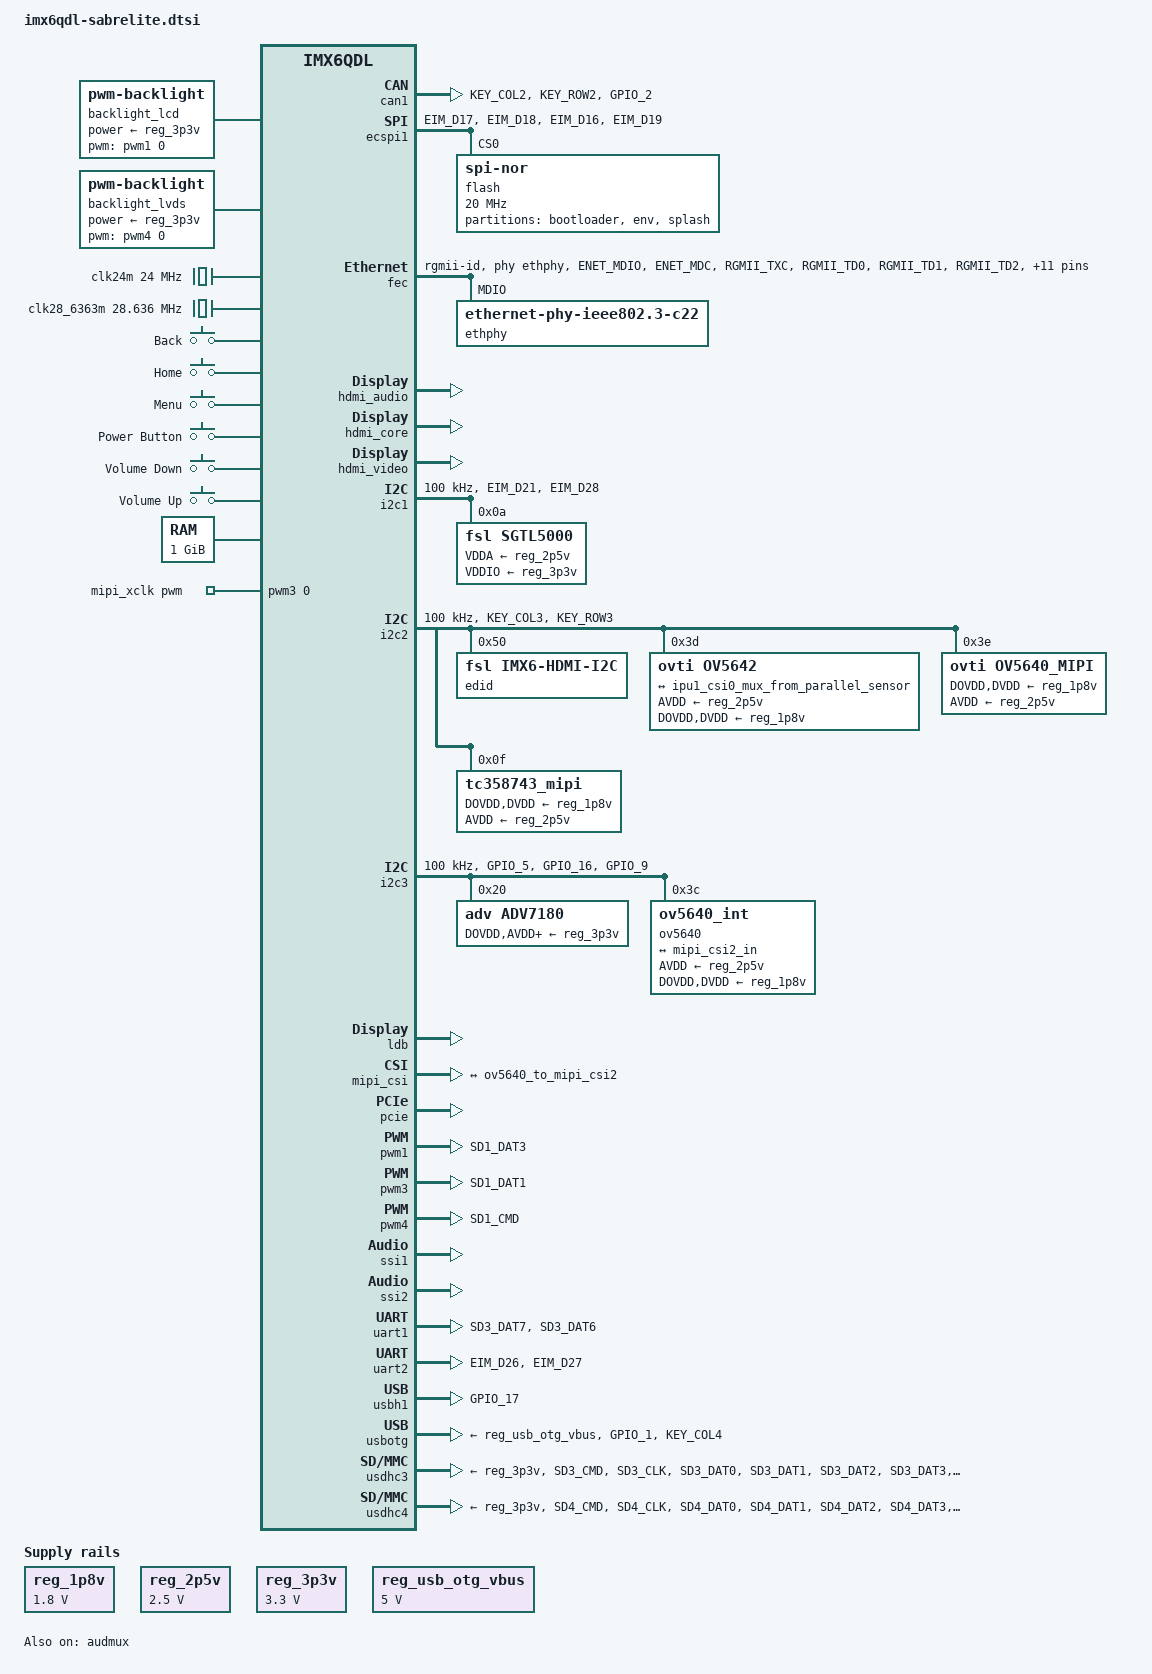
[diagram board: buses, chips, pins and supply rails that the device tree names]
// SPDX-License-Identifier: GPL-2.0 OR X11
/*
 * Copyright 2013-2016 Boundary Devices, Inc.
 * Copyright 2011-2015 Freescale Semiconductor, Inc.
 * Copyright 2011 Linaro Ltd.
 *
 */
#include <dt-bindings/gpio/gpio.h>
#include <dt-bindings/input/input.h>

&iomuxc {
	pinctrl-names = "default";
	pinctrl-0 = <&pinctrl_hog>;

	pinctrl_audmux: audmuxgrp {
		fsl,pins = <
			MX6QDL_PAD_SD2_DAT0__AUD4_RXD		0x130b0
			MX6QDL_PAD_SD2_DAT3__AUD4_TXC		0x130b0
			MX6QDL_PAD_SD2_DAT2__AUD4_TXD		0x110b0
			MX6QDL_PAD_SD2_DAT1__AUD4_TXFS		0x130b0
		>;
	};

	pinctrl_audmux_tc358743: audmux-tc358743grp {
		fsl,pins = <
			MX6QDL_PAD_DISP0_DAT13__AUD5_RXFS	0x130b0
			MX6QDL_PAD_DISP0_DAT14__AUD5_RXC	0x130b0
			MX6QDL_PAD_DISP0_DAT19__AUD5_RXD	0x130b0
		>;
	};

	pinctrl_can1: can1grp {
		fsl,pins = <
			MX6QDL_PAD_KEY_COL2__FLEXCAN1_TX	0x1b0b0
			MX6QDL_PAD_KEY_ROW2__FLEXCAN1_RX	0x1b0b0
#define GP_CAN1_STANDBY		<&gpio1 2 GPIO_ACTIVE_HIGH>
			/* Flexcan XCVR enable */
			MX6QDL_PAD_GPIO_2__GPIO1_IO02		0x0b0b0
		>;
	};

	pinctrl_ecspi1: ecspi1grp {
		fsl,pins = <
			MX6QDL_PAD_EIM_D17__ECSPI1_MISO		0x100b1
			MX6QDL_PAD_EIM_D18__ECSPI1_MOSI		0x100b1
			MX6QDL_PAD_EIM_D16__ECSPI1_SCLK		0x000b1
#define GP_ECSPI1_NOR_CS	<&gpio3 19 GPIO_ACTIVE_LOW>
			MX6QDL_PAD_EIM_D19__GPIO3_IO19		0x0b0b1
		>;
	};

	pinctrl_enet: enetgrp {
		fsl,pins = <
			MX6QDL_PAD_ENET_MDIO__ENET_MDIO		0x1b0b0
			MX6QDL_PAD_ENET_MDC__ENET_MDC		0x1b0b0
			MX6QDL_PAD_RGMII_TXC__RGMII_TXC		0x100b0
			MX6QDL_PAD_RGMII_TD0__RGMII_TD0		0x100b0
			MX6QDL_PAD_RGMII_TD1__RGMII_TD1		0x100b0
			MX6QDL_PAD_RGMII_TD2__RGMII_TD2		0x100b0
			MX6QDL_PAD_RGMII_TD3__RGMII_TD3		0x100b0
			MX6QDL_PAD_RGMII_TX_CTL__RGMII_TX_CTL	0x100b0
			MX6QDL_PAD_ENET_REF_CLK__ENET_TX_CLK	0x100b0
			MX6QDL_PAD_RGMII_RXC__RGMII_RXC		0x1b0b0
			MX6QDL_PAD_RGMII_RD0__RGMII_RD0		0x1b0b0
			MX6QDL_PAD_RGMII_RD1__RGMII_RD1		0x1b0b0
			MX6QDL_PAD_RGMII_RD2__RGMII_RD2		0x1b0b0
			MX6QDL_PAD_RGMII_RD3__RGMII_RD3		0x1b0b0
			MX6QDL_PAD_RGMII_RX_CTL__RGMII_RX_CTL	0x1b0b0
#define GPIRQ_ENET_PHY		<&gpio1 28 IRQ_TYPE_LEVEL_LOW>
			MX6QDL_PAD_ENET_TX_EN__GPIO1_IO28	0x1b0b0
		>;
	};

	pinctrl_enet_reset: enet-resetgrp {
		fsl,pins = <
#define GP_ENET_PHY_RESET	<&gpio3 23 GPIO_ACTIVE_LOW>
			MX6QDL_PAD_EIM_D23__GPIO3_IO23		0x030b0
		>;
	};

	pinctrl_gpio_keys: gpio-keysgrp {
		fsl,pins = <
#define GP_GPIOKEY_POWER	<&gpio2 3 GPIO_ACTIVE_LOW>
			MX6QDL_PAD_NANDF_D3__GPIO2_IO03		0x1b0b0
#define GP_GPIOKEY_MENU		<&gpio2 1 GPIO_ACTIVE_LOW>
			MX6QDL_PAD_NANDF_D1__GPIO2_IO01		0x1b0b0
#define GP_GPIOKEY_HOME		<&gpio2 4 GPIO_ACTIVE_LOW>
			MX6QDL_PAD_NANDF_D4__GPIO2_IO04		0x1b0b0
#define GP_GPIOKEY_BACK		<&gpio2 2 GPIO_ACTIVE_LOW>
			MX6QDL_PAD_NANDF_D2__GPIO2_IO02		0x1b0b0
#define GP_GPIOKEY_VOL_UP	<&gpio7 13 GPIO_ACTIVE_LOW>
			MX6QDL_PAD_GPIO_18__GPIO7_IO13		0x1b0b0
#define GP_GPIOKEY_VOL_DN	<&gpio4 5 GPIO_ACTIVE_LOW>
			MX6QDL_PAD_GPIO_19__GPIO4_IO05		0x1b0b0
		>;
	};

	pinctrl_hog: hoggrp {
		fsl,pins = <
			MX6QDL_PAD_NANDF_D7__GPIO2_IO07		0x1b0b0		/* Spare */
			MX6QDL_PAD_GPIO_4__GPIO1_IO04		0x1b0b0		/* Spare */
		>;
	};

	pinctrl_i2c1: i2c1grp {
		fsl,pins = <
			MX6QDL_PAD_EIM_D21__I2C1_SCL		0x4001b8b1
			MX6QDL_PAD_EIM_D28__I2C1_SDA		0x4001b8b1
		>;
	};

	pinctrl_i2c1_1: i2c1-1grp {
		fsl,pins = <
#define GP_I2C1_SCL	<&gpio3 21 GPIO_ACTIVE_HIGH>
			MX6QDL_PAD_EIM_D21__GPIO3_IO21		0x4001b8b1
#define GP_I2C1_SDA	<&gpio3 28 GPIO_ACTIVE_HIGH>
			MX6QDL_PAD_EIM_D28__GPIO3_IO28		0x4001b8b1
		>;
	};

	pinctrl_i2c1_sgtl5000: i2c1-sgtl5000grp {
		fsl,pins = <
			MX6QDL_PAD_GPIO_0__CCM_CLKO1		0x000b0		/* sys_mclk */
		>;
	};

	pinctrl_i2c2: i2c2grp {
		fsl,pins = <
			MX6QDL_PAD_KEY_COL3__I2C2_SCL		0x4001b8b1
			MX6QDL_PAD_KEY_ROW3__I2C2_SDA		0x4001b8b1
		>;
	};

	pinctrl_i2c2_1: i2c2-1grp {
		fsl,pins = <
#define GP_I2C2_SCL	<&gpio4 12 GPIO_ACTIVE_HIGH>
			MX6QDL_PAD_KEY_COL3__GPIO4_IO12		0x4001b8b1
#define GP_I2C2_SDA	<&gpio4 13 GPIO_ACTIVE_HIGH>
			MX6QDL_PAD_KEY_ROW3__GPIO4_IO13		0x4001b8b1
		>;
	};

	pinctrl_i2c2_ov5640_mipi: i2c2-ov5640-mipigrp {
		fsl,pins = <
#define GP_OV5640_MIPI_POWER_DOWN	<&gpio6 9 GPIO_ACTIVE_HIGH>
			MX6QDL_PAD_NANDF_WP_B__GPIO6_IO09	0x0b0b0
#define GP_OV5640_MIPI_RESET		<&gpio2 5 GPIO_ACTIVE_LOW>
			MX6QDL_PAD_NANDF_D5__GPIO2_IO05		0x000b0
		>;
	};

	pinctrl_i2c2_ov5642: i2c2-ov5642grp { /* parallel camera */
		fsl,pins = <
			MX6QDL_PAD_CSI0_DAT12__IPU1_CSI0_DATA12		0x1b0b0
			MX6QDL_PAD_CSI0_DAT13__IPU1_CSI0_DATA13		0x1b0b0
			MX6QDL_PAD_CSI0_DAT14__IPU1_CSI0_DATA14		0x1b0b0
			MX6QDL_PAD_CSI0_DAT15__IPU1_CSI0_DATA15		0x1b0b0
			MX6QDL_PAD_CSI0_DAT16__IPU1_CSI0_DATA16		0x1b0b0
			MX6QDL_PAD_CSI0_DAT17__IPU1_CSI0_DATA17		0x1b0b0
			MX6QDL_PAD_CSI0_DAT18__IPU1_CSI0_DATA18		0x1b0b0
			MX6QDL_PAD_CSI0_DAT19__IPU1_CSI0_DATA19		0x1b0b0
			MX6QDL_PAD_CSI0_DATA_EN__IPU1_CSI0_DATA_EN	0x1b0b0
			MX6QDL_PAD_CSI0_PIXCLK__IPU1_CSI0_PIXCLK	0x1b0b0
			MX6QDL_PAD_CSI0_MCLK__IPU1_CSI0_HSYNC		0x1b0b0
			MX6QDL_PAD_CSI0_VSYNC__IPU1_CSI0_VSYNC		0x1b0b0
			MX6QDL_PAD_GPIO_3__CCM_CLKO2			0x000b0		/* mclk */
#define GP_OV5642_POWER_DOWN	<&gpio1 6 GPIO_ACTIVE_HIGH>
			MX6QDL_PAD_GPIO_6__GPIO1_IO06			0x000b0
#define GP_OV5642_RESET		<&gpio1 8 GPIO_ACTIVE_LOW>
			MX6QDL_PAD_GPIO_8__GPIO1_IO08			0x030b0
		>;
	};

	pinctrl_i2c2_tc358743_mipi: i2c2-tc358743_mipigrp {
		fsl,pins = <
#define GP_TC3587_RESET	<&gpio6 9 GPIO_ACTIVE_LOW>
			MX6QDL_PAD_NANDF_WP_B__GPIO6_IO09	0x030b0
#define GP_TC3587_IRQ	<&gpio2 5 GPIO_ACTIVE_HIGH>
#define GPIRQ_TC3587	<&gpio2 5 IRQ_TYPE_LEVEL_HIGH>
			MX6QDL_PAD_NANDF_D5__GPIO2_IO05		0x130b0
		>;
	};

	pinctrl_i2c3: i2c3grp {
		fsl,pins = <
			MX6QDL_PAD_GPIO_5__I2C3_SCL		0x4001b8b1
			MX6QDL_PAD_GPIO_16__I2C3_SDA		0x4001b8b1
#define GPIRQ_I2C3_J7	<&gpio1 9 IRQ_TYPE_EDGE_FALLING>
#define GP_I2C3_J7	<&gpio1 9 GPIO_ACTIVE_LOW>
			MX6QDL_PAD_GPIO_9__GPIO1_IO09		0x1b0b0		/* I2C3 J7 interrupt */
		>;
	};

	pinctrl_i2c3_1: i2c3-1grp {
		fsl,pins = <
#define GP_I2C3_SCL	<&gpio1 5 GPIO_ACTIVE_HIGH>
			MX6QDL_PAD_GPIO_5__GPIO1_IO05		0x4001b8b1
#define GP_I2C3_SDA	<&gpio7 11 GPIO_ACTIVE_HIGH>
			MX6QDL_PAD_GPIO_16__GPIO7_IO11		0x4001b8b1
		>;
	};

	pinctrl_i2c3_adv7180_gpios: i2c3-adv7180-gpiosgrp {
		fsl,pins = <
			/* No data enable pin, make sure it is not selected */
			MX6QDL_PAD_EIM_DA10__GPIO3_IO10		0x0b0b1
#define GP_ADV7180_PWN		<&gpio3 13 GPIO_ACTIVE_LOW>
			MX6QDL_PAD_EIM_DA13__GPIO3_IO13		0x0b0b0
#define GP_ADV7180_RESET	<&gpio3 14 GPIO_ACTIVE_LOW>
			MX6QDL_PAD_EIM_DA14__GPIO3_IO14		0x030b0
#define GPIRQ_ADV7180		<&gpio5 0 IRQ_TYPE_LEVEL_LOW>
			MX6QDL_PAD_EIM_WAIT__GPIO5_IO00		0x1b0b0
		>;
	};

	pinctrl_i2c3_adv7180: i2c3-adv7180grp {
		/* parallel camera on CSI1, pins differ for iMX6Q/iMX6DL */
	};

	pinctrl_i2c3_adv7180_cea861: i2c3-adv7180-cea861grp {
		/* parallel camera on CSI1, pins differ for iMX6Q/iMX6DL */
	};

	pinctrl_i2c3_adv7180_no_cea861: i2c3-adv7180-no-cea861grp {
		fsl,pins = <
			MX6QDL_PAD_EIM_DA11__GPIO3_IO11		0xb0b1  /* Hsync */
			MX6QDL_PAD_EIM_DA12__GPIO3_IO12		0xb0b1  /* Vsync */
		>;
	};

	pinctrl_i2c3_gt911: i2c3-gt911grp {
		fsl,pins = <
#define GPIRQ_GT911			<&gpio1 9 IRQ_TYPE_LEVEL_HIGH>
#define GP_GT911_IRQ			<&gpio1 9 GPIO_ACTIVE_HIGH>
/*			MX6QDL_PAD_GPIO_9__GPIO1_IO09		0x1b0b0		*/
#define GP_GT911_RESET		<&gpio2 0 GPIO_ACTIVE_HIGH>
			MX6QDL_PAD_NANDF_D0__GPIO2_IO00		0x030b0
		>;
	};

	pinctrl_i2c3_ov5640: i2c3-ov5640grp {
		/* parallel camera on CSI1, pins differ for iMX6Q/iMX6DL */
	};

	pinctrl_i2c3_ov5640_gpios: i2c3-ov5640-gpiosgrp {
		fsl,pins = <
#define GP_OV5640_POWER_DOWN	<&gpio3 13 GPIO_ACTIVE_HIGH>
			MX6QDL_PAD_EIM_DA13__GPIO3_IO13		0x0b0b0
#define GP_OV5640_RESET		<&gpio3 14 GPIO_ACTIVE_LOW>
			MX6QDL_PAD_EIM_DA14__GPIO3_IO14		0x030b0
		>;
	};

	pinctrl_i2c3_tsc2004: i2c3-tsc2004grp {
		fsl,pins = <
#define GPIRQ_TSC2004		<&gpio4 20 IRQ_TYPE_EDGE_FALLING>
#define GP_TSC2004		<&gpio4 20 GPIO_ACTIVE_LOW>
			MX6QDL_PAD_DI0_PIN4__GPIO4_IO20		0x1b0b0		/* tsc2004 interrupt */
		>;
	};

	pinctrl_lcd0_rgb: lcd0-rgbgrp {
		fsl,pins = <
			MX6QDL_PAD_DI0_DISP_CLK__IPU1_DI0_DISP_CLK	0x10
			MX6QDL_PAD_DI0_PIN15__IPU1_DI0_PIN15		0x10	/* DRDY */
			MX6QDL_PAD_DI0_PIN2__IPU1_DI0_PIN02		0x10	/* HSYNC */
			MX6QDL_PAD_DI0_PIN3__IPU1_DI0_PIN03		0x10	/* VSYNC */
			MX6QDL_PAD_DISP0_DAT0__IPU1_DISP0_DATA00	0x10
			MX6QDL_PAD_DISP0_DAT1__IPU1_DISP0_DATA01	0x10
			MX6QDL_PAD_DISP0_DAT2__IPU1_DISP0_DATA02	0x10
			MX6QDL_PAD_DISP0_DAT3__IPU1_DISP0_DATA03	0x10
			MX6QDL_PAD_DISP0_DAT4__IPU1_DISP0_DATA04	0x10
			MX6QDL_PAD_DISP0_DAT5__IPU1_DISP0_DATA05	0x10
			MX6QDL_PAD_DISP0_DAT6__IPU1_DISP0_DATA06	0x10
			MX6QDL_PAD_DISP0_DAT7__IPU1_DISP0_DATA07	0x10
			MX6QDL_PAD_DISP0_DAT8__IPU1_DISP0_DATA08	0x10
			MX6QDL_PAD_DISP0_DAT9__IPU1_DISP0_DATA09	0x10
			MX6QDL_PAD_DISP0_DAT10__IPU1_DISP0_DATA10	0x10
			MX6QDL_PAD_DISP0_DAT11__IPU1_DISP0_DATA11	0x10
			MX6QDL_PAD_DISP0_DAT12__IPU1_DISP0_DATA12	0x10
			MX6QDL_PAD_DISP0_DAT13__IPU1_DISP0_DATA13	0x10
			MX6QDL_PAD_DISP0_DAT14__IPU1_DISP0_DATA14	0x10
			MX6QDL_PAD_DISP0_DAT15__IPU1_DISP0_DATA15	0x10
			MX6QDL_PAD_DISP0_DAT16__IPU1_DISP0_DATA16	0x10
			MX6QDL_PAD_DISP0_DAT17__IPU1_DISP0_DATA17	0x10
		>;
	};

	pinctrl_lcd0_rgb24: lcd0-rgb24grp {
		fsl,pins = <
			MX6QDL_PAD_DISP0_DAT18__IPU1_DISP0_DATA18	0x10
			MX6QDL_PAD_DISP0_DAT19__IPU1_DISP0_DATA19	0x10
			MX6QDL_PAD_DISP0_DAT20__IPU1_DISP0_DATA20	0x10
			MX6QDL_PAD_DISP0_DAT21__IPU1_DISP0_DATA21	0x10
			MX6QDL_PAD_DISP0_DAT22__IPU1_DISP0_DATA22	0x10
			MX6QDL_PAD_DISP0_DAT23__IPU1_DISP0_DATA23	0x10
		>;
	};

	pinctrl_pwm1: pwm1grp {
		fsl,pins = <
			MX6QDL_PAD_SD1_DAT3__PWM1_OUT		0x1b0b1
		>;
	};

	pinctrl_pwm3: pwm3grp {
		fsl,pins = <
			MX6QDL_PAD_SD1_DAT1__PWM3_OUT		0x1b0b1
		>;
	};

	pinctrl_pwm4: pwm4grp {
		fsl,pins = <
			MX6QDL_PAD_SD1_CMD__PWM4_OUT		0x1b0b1
		>;
	};

	pinctrl_reg_usbotg_vbus: reg-usbotg-vbusgrp {
		fsl,pins = <
#define GP_REG_USBOTG	<&gpio3 22 GPIO_ACTIVE_HIGH>
			MX6QDL_PAD_EIM_D22__GPIO3_IO22		0x030b0
		>;
	};

	pinctrl_uart1: uart1grp {
		fsl,pins = <
			MX6QDL_PAD_SD3_DAT7__UART1_TX_DATA	0x1b0b1
			MX6QDL_PAD_SD3_DAT6__UART1_RX_DATA	0x1b0b1
		>;
	};

	pinctrl_uart2: uart2grp {
		fsl,pins = <
			MX6QDL_PAD_EIM_D26__UART2_TX_DATA	0x1b0b1
			MX6QDL_PAD_EIM_D27__UART2_RX_DATA	0x1b0b1
		>;
	};

	pinctrl_usbh1: usbh1grp {
		fsl,pins = <
#define GP_USBH1_HUB_RESET	<&gpio7 12 GPIO_ACTIVE_LOW>
			MX6QDL_PAD_GPIO_17__GPIO7_IO12		0x0b0b0
		>;
	};

	pinctrl_usbotg: usbotggrp {
		fsl,pins = <
			MX6QDL_PAD_GPIO_1__USB_OTG_ID		0x17059
			MX6QDL_PAD_KEY_COL4__USB_OTG_OC		0x1b0b0
		>;
	};

	pinctrl_usdhc3: usdhc3grp {
		fsl,pins = <
			MX6QDL_PAD_SD3_CMD__SD3_CMD		0x17059
			MX6QDL_PAD_SD3_CLK__SD3_CLK		0x10059
			MX6QDL_PAD_SD3_DAT0__SD3_DATA0		0x17059
			MX6QDL_PAD_SD3_DAT1__SD3_DATA1		0x17059
			MX6QDL_PAD_SD3_DAT2__SD3_DATA2		0x17059
			MX6QDL_PAD_SD3_DAT3__SD3_DATA3		0x17059
#define GP_USDHC3_CD	<&gpio7 0 GPIO_ACTIVE_LOW>
			MX6QDL_PAD_SD3_DAT5__GPIO7_IO00		0x1b0b0
#define GP_USDHC3_WP	<&gpio7 1 GPIO_ACTIVE_HIGH>
			MX6QDL_PAD_SD3_DAT4__GPIO7_IO01		0x1b0b0
		>;
	};

	pinctrl_usdhc4: usdhc4grp {
		fsl,pins = <
			MX6QDL_PAD_SD4_CMD__SD4_CMD		0x17059
			MX6QDL_PAD_SD4_CLK__SD4_CLK		0x10059
			MX6QDL_PAD_SD4_DAT0__SD4_DATA0		0x17059
			MX6QDL_PAD_SD4_DAT1__SD4_DATA1		0x17059
			MX6QDL_PAD_SD4_DAT2__SD4_DATA2		0x17059
			MX6QDL_PAD_SD4_DAT3__SD4_DATA3		0x17059
#define GP_USDHC4_CD	<&gpio2 6 GPIO_ACTIVE_LOW>
			MX6QDL_PAD_NANDF_D6__GPIO2_IO06		0x1b0b0
		>;
	};
};

/ {
	aliases {
		backlight_lcd = &backlight_lcd;
		backlight_lvds = &backlight_lvds;
		fb_hdmi = &fb_hdmi;
		fb_lcd = &fb_lcd;
		fb_lvds = &fb_lvds;
		lcd = &lcd;
		ldb = &ldb;
		mmc0 = &usdhc3;
		mmc1 = &usdhc4;
		mmc2 = &usdhc2;
		mxcfb0 = &fb_lvds;
		mxcfb1 = &fb_lcd;
		mxcfb2 = &fb_hdmi;
		pwm_lcd = &pwm1;
		pwm_lvds = &pwm4;
		t_lvds = &t_lvds;
		ts_egalax = &ts_egalax;
		ts_ft5x06 = &ts_ft5x06;
		ts_goodix = &ts_goodix;
		ts_goodix2 = &ts_goodix2;
		ts_ili210x = &ts_ili210x;
		ts_tsc2004 = &ts_tsc2004;
	};

	backlight_lcd: backlight-lcd {
		brightness-levels = <0 1 2 3 4 5 6 7 8 9 10>;
		compatible = "pwm-backlight";
		default-brightness-level = <8>;
		display = <&fb_lcd>;
		power-supply = <&reg_3p3v>;
		pwms = <&pwm1 0 5000000 0>;
		status = "okay";
	};

	backlight_lvds: backlight-lvds {
		brightness-levels = <0 1 2 3 4 5 6 7 8 9 10>;
		compatible = "pwm-backlight";
		default-brightness-level = <8>;
		display = <&fb_lvds>;
		power-supply = <&reg_3p3v>;
		pwms = <&pwm4 0 5000000 0>;
		status = "okay";
	};

	chosen {
		stdout-path = &uart2;
	};

	clocks {
		clk24m: clk24m {
			compatible = "fixed-clock";
			#clock-cells = <0>;
			clock-frequency = <24000000>;
		};

		clk28_6363m: clk28_6363m {
			compatible = "fixed-clock";
			#clock-cells = <0>;
			clock-frequency = <28636300>;
		};
	};

	fb_lvds: fb@0 {
		compatible = "fsl,mxc_sdc_fb";
		disp_dev = "ldb";
		interface_pix_fmt = "RGB666";
		default_bpp = <16>;
		int_clk = <0>;
		late_init = <0>;
		status = "disabled";
	};

	fb_lcd: fb@1 {
		compatible = "fsl,mxc_sdc_fb";
		disp_dev = "lcd";
		interface_pix_fmt = "RGB666";
		default_bpp = <16>;
		int_clk = <0>;
		late_init = <0>;
		status = "disabled";
	};

	fb_hdmi: fb@2 {
		compatible = "fsl,mxc_sdc_fb";
		disp_dev = "hdmi";
		interface_pix_fmt = "RGB24";
		mode_str ="1280x720M@60";
		default_bpp = <32>;
		int_clk = <0>;
		late_init = <0>;
		status = "disabled";
	};

	gpio-keys {
		compatible = "gpio-keys";
		pinctrl-names = "default";
		pinctrl-0 = <&pinctrl_gpio_keys>;

		back {
			label = "Back";
			gpios = GP_GPIOKEY_BACK;
			linux,code = <KEY_BACK>;
		};

		home {
			label = "Home";
			gpios = GP_GPIOKEY_HOME;
			linux,code = <KEY_HOMEPAGE>;
		};

		menu {
			label = "Menu";
			gpios = GP_GPIOKEY_MENU;
			linux,code = <KEY_MENU>;
		};

		power {
			label = "Power Button";
			gpios = GP_GPIOKEY_POWER;
			linux,code = <KEY_POWER>;
			wakeup-source;
		};

		volume-down {
			label = "Volume Down";
			gpios = GP_GPIOKEY_VOL_DN;
			linux,code = <KEY_VOLUMEDOWN>;
		};

		volume-up {
			label = "Volume Up";
			gpios = GP_GPIOKEY_VOL_UP;
			linux,code = <KEY_VOLUMEUP>;
		};
	};

	lcd: lcd@0 {
		compatible = "fsl,lcd";
		ipu_id = <0>;
		disp_id = <0>;
		default_ifmt = "RGB666";
		pinctrl-names = "default", "rgb24";
		pinctrl-0 = <&pinctrl_lcd0_rgb>;
		pinctrl-1 = <&pinctrl_lcd0_rgb &pinctrl_lcd0_rgb24>;
		status = "okay";
	};

	memory@10000000 {
		device_type = "memory";
		reg = <0x10000000 0x40000000>;
	};

	mipi_xclk: mipi-xclk {
		compatible = "pwm-clock";
		#clock-cells = <0>;
		clock-frequency = <22000000>;
		clock-output-names = "mipi_pwm3";
		pwms = <&pwm3 0 45 0>; /* 1 / 45 ns = 22 MHz */
	};

	reg_1p8v: regulator-1v8 {
		compatible = "regulator-fixed";
		regulator-name = "1P8V";
		regulator-min-microvolt = <1800000>;
		regulator-max-microvolt = <1800000>;
		regulator-always-on;
	};

	reg_2p5v: regulator-2v5 {
		compatible = "regulator-fixed";
		regulator-name = "2P5V";
		regulator-min-microvolt = <2500000>;
		regulator-max-microvolt = <2500000>;
		regulator-always-on;
	};

	reg_3p3v: regulator-3v3 {
		compatible = "regulator-fixed";
		regulator-name = "3P3V";
		regulator-min-microvolt = <3300000>;
		regulator-max-microvolt = <3300000>;
		regulator-always-on;
	};

	reg_usb_otg_vbus: regulator-usb-otg-vbus {
		compatible = "regulator-fixed";
		pinctrl-names = "default";
		pinctrl-0 = <&pinctrl_reg_usbotg_vbus>;
		regulator-name = "usb_otg_vbus";
		regulator-min-microvolt = <5000000>;
		regulator-max-microvolt = <5000000>;
		gpio = GP_REG_USBOTG;
		enable-active-high;
	};

	sound {
		compatible = "fsl,imx6q-sabrelite-sgtl5000",
			     "fsl,imx-audio-sgtl5000";
		model = "sgtl5000-audio";
		ssi-controller = <&ssi1>;
		audio-codec = <&sgtl5000>;
		audio-routing =
			"MIC_IN", "Mic Jack",
			"Mic Jack", "Mic Bias",
			"Headphone Jack", "HP_OUT";
		mux-int-port = <1>;
		mux-ext-port = <4>;
	};

	sound-hdmi {
		compatible = "fsl,imx6qdl-audio-hdmi",
			     "fsl,imx-audio-hdmi";
		model = "imx-audio-hdmi";
		hdmi-controller = <&hdmi_audio>;
	};

	sound-hdmi-input {
		compatible = "fsl,imx-audio-tc358743";
		ssi-controller = <&ssi2>;
		model = "imx-audio-tc358743";
		mux-int-port = <2>;
		mux-ext-port = <5>;
		pinctrl-names = "default";
		pinctrl-0 = <&pinctrl_audmux_tc358743>;
		status = "disabled";
	};

#if 0
	lcd_display: disp0 {
		compatible = "fsl,imx-parallel-display";
		#address-cells = <1>;
		#size-cells = <0>;
		interface-pix-fmt = "bgr666";
		pinctrl-names = "default";
		pinctrl-0 = <&pinctrl_j15>;

		port@0 {
			reg = <0>;

			lcd_display_in: endpoint {
				remote-endpoint = <&ipu1_di0_disp0>;
			};
		};

		port@1 {
			reg = <1>;

			lcd_display_out: endpoint {
				remote-endpoint = <&lcd_panel_in>;
			};
		};
	};

	panel-lcd {
		compatible = "okaya,rs800480t-7x0gp";
		backlight = <&backlight_lcd>;

		port {
			lcd_panel_in: endpoint {
				remote-endpoint = <&lcd_display_out>;
			};
		};
	};

	panel-lvds0 {
		compatible = "hannstar,hsd100pxn1";
		backlight = <&backlight_lvds>;
		port {
			panel_in: endpoint {
				remote-endpoint = <&lvds0_out>;
			};
		};
	};

	mxcfb1: fb@0 {
		compatible = "fsl,mxc_sdc_fb";
		disp_dev = "hdmi";
		interface_pix_fmt = "RGB24";
		mode_str ="1920x1080M@60";
		default_bpp = <24>;
		int_clk = <0>;
		late_init = <0>;
	};
#endif

	v4l2_cap_0: v4l2-cap-0 {
		compatible = "fsl,imx6q-v4l2-capture";
		ipu_id = <0>;
		csi_id = <0>;
		mclk_source = <0>;
		status = "okay";
	};

	v4l2_cap_1: v4l2-cap-1 {
		compatible = "fsl,imx6q-v4l2-capture";
		ipu_id = <0>;
		csi_id = <1>;
		mipi_camera = <1>;
		mclk_source = <0>;
		status = "okay";
	};

	v4l2_cap_2: v4l2-cap-2 {
		compatible = "fsl,imx6q-v4l2-capture";
		ipu_id = <0>;
		csi_id = <1>;
		mclk_source = <0>;
		status = "okay";
	};

	v4l2_cap_3: v4l2-cap-3 {
		compatible = "fsl,imx6q-v4l2-capture";
		ipu_id = <0>;
		csi_id = <0>;
		mipi_camera = <1>;
		mclk_source = <0>;
		status = "okay";
	};

	v4l2-out {
		compatible = "fsl,mxc_v4l2_output";
		status = "okay";
	};
};

&ipu1_csi0_from_ipu1_csi0_mux {
	bus-width = <8>;
	data-shift = <12>; /* Lines 19:12 used */
	hsync-active = <1>;
	vync-active = <1>;
};

&ipu1_csi0_mux_from_parallel_sensor {
	remote-endpoint = <&ov5642_to_ipu1_csi0_mux>;
};

&audmux {
	pinctrl-names = "default";
	pinctrl-0 = <&pinctrl_audmux>;
	status = "okay";
};

&can1 {
	pinctrl-names = "default";
	pinctrl-0 = <&pinctrl_can1>;
	trx-stby-gpio = GP_CAN1_STANDBY;
	status = "okay";
};

&ecspi1 {
	cs-gpios = GP_ECSPI1_NOR_CS;
	pinctrl-names = "default";
	pinctrl-0 = <&pinctrl_ecspi1>;
	status = "okay";

	flash: flash@0 {
		compatible = "jedec,spi-nor";
		spi-max-frequency = <20000000>;
		reg = <0>;
		#address-cells = <1>;
		#size-cells = <1>;

		partition@0 {
			label = "bootloader";
			reg = <0x0 0xc0000>;
		};

		partition@c0000 {
			label = "env";
			reg = <0xc0000 0x2000>;
		};

		partition@c2000 {
			label = "splash";
			reg = <0xc2000 0x13e000>;
		};
	};
};

&fec {
	phy-handle = <&ethphy>;
	phy-mode = "rgmii-id";
#if 0
	phy-reset-gpios = GP_ENET_PHY_RESET;
#endif
	pinctrl-names = "default";
	pinctrl-0 = <&pinctrl_enet>, <&pinctrl_enet_reset>;
	status = "okay";

	mdio {
		#address-cells = <1>;
		#size-cells = <0>;

		ethphy: ethernet-phy {
			compatible = "ethernet-phy-ieee802.3-c22";
			interrupts-extended = GPIRQ_ENET_PHY;
			rxc-skew-ps = <3000>;
			rxd0-skew-ps = <0>;
			rxd1-skew-ps = <0>;
			rxd2-skew-ps = <0>;
			rxd3-skew-ps = <0>;
			rxdv-skew-ps = <0>;
			txc-skew-ps = <3000>;
			txd0-skew-ps = <0>;
			txd1-skew-ps = <0>;
			txd2-skew-ps = <0>;
			txd3-skew-ps = <0>;
			txen-skew-ps = <0>;
		};
	};
};

&hdmi_audio {
	status = "okay";
};

&hdmi_core {
	ipu_id = <0>;
	disp_id = <0>;
	status = "okay";
};

&hdmi_video {
	fsl,phy_reg_vlev = <0x0294>;
	fsl,phy_reg_cksymtx = <0x800d>;
	status = "okay";
};

&i2c1 {
	clock-frequency = <100000>;
	pinctrl-names = "default", "gpio";
	pinctrl-0 = <&pinctrl_i2c1>;
	pinctrl-1 = <&pinctrl_i2c1_1>;
	scl-gpios = GP_I2C1_SCL;
	sda-gpios = GP_I2C1_SDA;
	status = "okay";

	sgtl5000: codec@a {
		compatible = "fsl,sgtl5000";
		pinctrl-names = "default";
		pinctrl-0 = <&pinctrl_i2c1_sgtl5000>;
		reg = <0x0a>;
		clocks = <&clks IMX6QDL_CLK_CKO>;
		VDDA-supply = <&reg_2p5v>;
		VDDIO-supply = <&reg_3p3v>;
	};
};

&i2c2 {
	clock-frequency = <100000>;
	pinctrl-names = "default", "gpio";
	pinctrl-0 = <&pinctrl_i2c2>;
	pinctrl-1 = <&pinctrl_i2c2_1>;
	scl-gpios = GP_I2C2_SCL;
	sda-gpios = GP_I2C2_SDA;
	status = "okay";

	edid@50 {
		compatible = "fsl,imx6-hdmi-i2c";
		reg = <0x50>;
	};

	ov5642: camera@3d {
		AVDD-supply = <&reg_2p5v>;
		DOVDD-supply = <&reg_1p8v>;
		DVDD-supply = <&reg_1p8v>;
		clocks = <&clks IMX6QDL_CLK_CKO2>;
		clock-names = "xclk";
		compatible = "ovti,ov5642";
		pinctrl-names = "default";
		pinctrl-0 = <&pinctrl_i2c2_ov5642>;
		powerdown-gpios = GP_OV5642_POWER_DOWN;
		reg = <0x3d>;
		reset-gpios = GP_OV5642_RESET;
		ipu_id = <0>;
		csi_id = <0>;
		mclk = <24000000>;
		mclk_source = <0>;

		port {
			ov5642_to_ipu1_csi0_mux: endpoint {
				remote-endpoint = <&ipu1_csi0_mux_from_parallel_sensor>;
				bus-width = <8>;
				hsync-active = <1>;
				vsync-active = <1>;
			};
		};
	};

	ov5640_mipi: ov5640-mipi@3e {
		compatible = "ovti,ov5640_mipi";
		reg = <0x3e>;
		pinctrl-names = "default";
		pinctrl-0 = <&pinctrl_i2c2_ov5640_mipi>;
		clocks = <&mipi_xclk>;
		clock-names = "xclk";
		DOVDD-supply = <&reg_1p8v>;
		AVDD-supply = <&reg_2p5v>;
		DVDD-supply = <&reg_1p8v>;
		powerdown-gpios = GP_OV5640_MIPI_POWER_DOWN;
		reset-gpios = GP_OV5640_MIPI_RESET;
		ipu_id = <0>;
		csi_id = <1>;
		mclk = <22000000>;
		mclk_source = <0>;
	};

	tc358743_mipi: tc358743-mipi@f {
		compatible = "tc358743_mipi";
		reg = <0x0f>;
		pinctrl-names = "default";
		pinctrl-0 = <&pinctrl_i2c2_tc358743_mipi>;
		DOVDD-supply = <&reg_1p8v>;
		AVDD-supply = <&reg_2p5v>;
		DVDD-supply = <&reg_1p8v>;
		rst-gpios = GP_TC3587_RESET;
		irq-gpios = GP_TC3587_IRQ;
		interrupts-extended = GPIRQ_TC3587;
		ipu_id = <0>;
		csi_id = <0>;
		mclk = <27000000>;
		mclk_source = <0>;
	};
};

&i2c3 {
	clock-frequency = <100000>;
	pinctrl-names = "default", "gpio";
	pinctrl-0 = <&pinctrl_i2c3>;
	pinctrl-1 = <&pinctrl_i2c3_1>;
	scl-gpios = GP_I2C3_SCL;
	sda-gpios = GP_I2C3_SDA;
	status = "okay";

	adv7180: adv7180@20 {
		clocks = <&clk28_6363m 0>;
		clock-names = "csi_mclk";
		compatible = "adv,adv7180";
		reg = <0x20>;
		pinctrl-names = "default", "no_cea861", "cea861";
		pinctrl-0 = <&pinctrl_i2c3_adv7180 &pinctrl_i2c3_adv7180_gpios>;
		pinctrl-1 = <&pinctrl_i2c3_adv7180_no_cea861>;
		pinctrl-2 = <&pinctrl_i2c3_adv7180_cea861>;
		cea861 = <0>;
		DOVDD-supply = <&reg_3p3v>; /* 3.3v, enabled via 2.8 VGEN6 */
		AVDD-supply = <&reg_3p3v>;  /* 1.8v */
		DVDD-supply = <&reg_3p3v>;  /* 1.8v */
		PVDD-supply = <&reg_3p3v>;  /* 1.8v */
		rst-gpios = GP_ADV7180_RESET;
		pwn-gpios = GP_ADV7180_PWN;
		interrupts-extended = GPIRQ_ADV7180;
		csi_id = <1>;
		mclk = <28636300>;
		mclk_source = <0>;
		cvbs = <1>;
	};

	ov5640: camera@3c {
		AVDD-supply = <&reg_2p5v>;
		DOVDD-supply = <&reg_1p8v>;
		DVDD-supply = <&reg_1p8v>;
		compatible = "ov5640_int";	/* "ovti,ov5640" */
		pinctrl-names = "default";
		pinctrl-0 = <&pinctrl_i2c3_ov5640 &pinctrl_i2c3_ov5640_gpios>;
		reg = <0x3c>;
		clocks = <&clk24m 0>;
		clock-names = "xclk";
		powerdown-gpios = GP_OV5640_POWER_DOWN;
		reset-gpios = GP_OV5640_RESET;
		csi_id = <1>;
		mclk = <24000000>;
		mclk_source = <0>;

		port {
			#address-cells = <1>;
			#size-cells = <0>;

			ov5640_to_mipi_csi2: endpoint {
				remote-endpoint = <&mipi_csi2_in>;
				clock-lanes = <0>;
				data-lanes = <1 2>;
			};
		};
	};

	ts_egalax: touchscreen@4 {
		compatible = "eeti,egalax_ts";
		interrupts-extended = GPIRQ_I2C3_J7;
		reg = <0x04>;
		status = "disabled";
		wakeup-gpios = GP_I2C3_J7;
	};

	ts_ft5x06: touchscreen@38 {
		compatible = "edt,ft5x06-ts";
		interrupts-extended = GPIRQ_I2C3_J7;
		reg = <0x38>;
		status = "disabled";
		wakeup-gpios = GP_I2C3_J7;
		wakeup-source;
	};

	ts_goodix: touchscreen@14 {
		compatible = "goodix,gt911";
		esd-recovery-timeout-ms = <2000>;
		interrupts-extended = GPIRQ_GT911;
		irq-gpios = GP_GT911_IRQ;
		pinctrl-names = "default";
		pinctrl-0 = <&pinctrl_i2c3_gt911>;
		reg = <0x14>;
		reset-gpios = GP_GT911_RESET;
		status = "disabled";
	};

	ts_goodix2: touchscreen@5d {
		compatible = "goodix,gt911";
		esd-recovery-timeout-ms = <2000>;
		interrupts-extended = GPIRQ_GT911;
		irq-gpios = GP_GT911_IRQ;
		pinctrl-names = "default";
		pinctrl-0 = <&pinctrl_i2c3_gt911>;
		reg = <0x5d>;
		reset-gpios = GP_GT911_RESET;
		status = "disabled";
	};

	ts_ili210x: touchscreen@41 {
		compatible = "ili210x";
		interrupts-extended = GPIRQ_I2C3_J7;
		reg = <0x41>;
		status = "disabled";
		wakeup-gpios = GP_I2C3_J7;
	};

	ts_tsc2004: touchscreen@48 {
		compatible = "tsc2004,tsc2004";
		interrupts-extended = GPIRQ_TSC2004;
		pinctrl-names = "default";
		pinctrl-0 = <&pinctrl_i2c3_tsc2004>;
		reg = <0x48>;
		status = "disabled";
		wakeup-gpios = GP_TSC2004;
	};
};

&ldb {
	status = "okay";

	lvds-channel@0 {
		crtc = "ipu1-di1";
		fsl,data-mapping = "spwg";
		fsl,data-width = <18>;
		status = "okay";
		primary;

		display-timings {
			t_lvds: t-lvds-default {
				/* lg1280x800 values may be changed in bootscript */
				clock-frequency = <72000000>;
				hactive = <1280>;
				vactive = <800>;
				hback-porch = <48>;
				hfront-porch = <80>;
				vback-porch = <15>;
				vfront-porch = <2>;
				hsync-len = <32>;
				vsync-len = <6>;
			};
		};
	};
};

&mipi_csi {
	lanes = <2>;
	status = "okay";

	port@0 {
		reg = <0>;

		mipi_csi2_in: endpoint {
			remote-endpoint = <&ov5640_to_mipi_csi2>;
			clock-lanes = <0>;
			data-lanes = <1 2>;
		};
	};
};

&pcie {
	status = "okay";
};

&pwm1 {
	pinctrl-names = "default";
	pinctrl-0 = <&pinctrl_pwm1>;
	status = "okay";
};

&pwm3 {
	pinctrl-names = "default";
	pinctrl-0 = <&pinctrl_pwm3>;
	status = "okay";
};

&pwm4 {
	pinctrl-names = "default";
	pinctrl-0 = <&pinctrl_pwm4>;
	status = "okay";
};

&ssi1 {
	fsl,mode = "i2s-slave";
	status = "okay";
};

&ssi2 {
	fsl,mode = "i2s-slave";
	status = "okay";
};

&uart1 {
	pinctrl-names = "default";
	pinctrl-0 = <&pinctrl_uart1>;
	status = "okay";
};

&uart2 {
	pinctrl-names = "default";
	pinctrl-0 = <&pinctrl_uart2>;
	status = "okay";
};

&usbh1 {
	pinctrl-names = "default";
	pinctrl-0 = <&pinctrl_usbh1>;
	disable-over-current;
	reset-gpios = GP_USBH1_HUB_RESET;
	status = "okay";
};

&usbotg {
	vbus-supply = <&reg_usb_otg_vbus>;
	pinctrl-names = "default";
	pinctrl-0 = <&pinctrl_usbotg>;
	status = "okay";
};

&usdhc3 {
	pinctrl-names = "default";
	pinctrl-0 = <&pinctrl_usdhc3>;
	cd-gpios = GP_USDHC3_CD;
	wp-gpios = GP_USDHC3_WP;
	vmmc-supply = <&reg_3p3v>;
	status = "okay";
};

&usdhc4 {
	pinctrl-names = "default";
	pinctrl-0 = <&pinctrl_usdhc4>;
	cd-gpios = GP_USDHC4_CD;
	vmmc-supply = <&reg_3p3v>;
	status = "okay";
};
